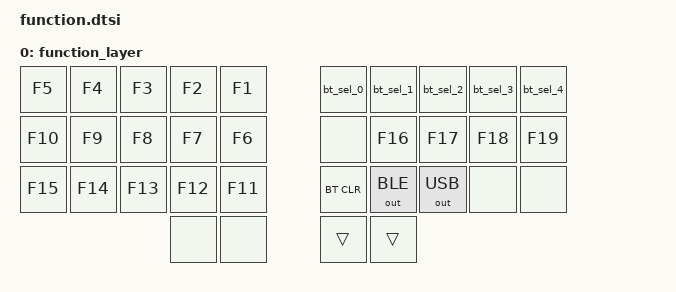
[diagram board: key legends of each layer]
#include <dt-bindings/zmk/bt.h>

/ {
    keymap {
        compatible = "zmk,keymap";
                function_layer {
// -----------------------------------------------------------------
// |     | F 4 | F 5 | F 6 | F10 | | <!> | <!> | <!> | <!> |     |
// |CAPSL| F 1 | F 2 | F 3 | F11 | | BT2 |VMUTE|VOLDN|VOLUP| <!> |
// |-!!!-| F 7 | F 8 | F 9 | F12 | | BT0 | BT1 |BRIDN|BRIUP|_FUN_|
//                   |     | SPC | | RET |     |
/*  
    ╭─────────────────────────╮ ╭─────────────────────────────────────╮
    │ F5   F4   F3   F2   F1  │ │ BT_1    BT_2    BT_3     BT_4  BT_5 │
    │ F10  F9   F8   F7   F6  │ │  _      F16     F17      F18   F19  │
    │ F15  F14  F13  F12  F11 │ │ BT_CLR  OUT_BT  OUT_USB   _TO DAN_  │
    ╰───────────╮trans  trans │ │ trans  trans╭───────────────────────╯
                ╰─────────────╯ ╰─────────────╯   */
                        bindings = <
//┌────────┬────────┬────────┬────────┬────────┐ ┌────────────┬─────────────┬─────────────┬─────────────┬─────────────┐
    &kp F5   &kp F4   &kp F3   &kp F2   &kp F1    &bt_sel_0  &bt_sel_1  &bt_sel_2  &bt_sel_3  &bt_sel_4
//├────────┼────────┼────────┼────────┼────────┤ ├────────────┼─────────────┼─────────────┼─────────────┼─────────────┤
    &kp F10  &kp F9   &kp F8   &kp F7   &kp F6    &none         &kp F16       &kp F17       &kp F18       &kp F19            
//├────────┼────────┼────────┼────────┼────────┤ ├────────────┼─────────────┼─────────────┼─────────────┼─────────────┤
    &kp F15  &kp F14  &kp F13  &kp F12  &kp F11   &bt BT_CLR    &out OUT_BLE  &out OUT_USB  &none         &none
//└────────┴────────┴────────┴────────┴────────┘ └────────────┴─────────────┴─────────────┴─────────────┴─────────────┘
                               &none    &none     &trans        &trans 
//                           └────────┴────────┘ └────────────┴─────────────┘                        
                        >;
                };
        };
};
COMBO_LAYER(to_DANGER, &mo DAN, RBR RBP, FUN)

#define BT_SEL_LED(BT_CHANNEL, COLOR) \
  / { \
    macros { \
      bt_sel_##BT_CHANNEL: bt_sel_##BT_CHANNEL { \
        compatible = "zmk,behavior-macro"; \
        label = str(bt_sel_##BT_CHANNEL); \
        #binding-cells = <0>; \
        wait-ms = <0>; \
        tap-ms = <10>; \
        bindings \
          = <&rgb_ug RGB_COLOR_HSB(COLOR,100,100)>\
          , <&bt BT_SEL BT_CHANNEL>;\
      };\
    };\
  };

BT_SEL_LED(0, 248)
BT_SEL_LED(1, 276)
BT_SEL_LED(2, 48)
BT_SEL_LED(3, 38)
BT_SEL_LED(4, 128)

/*
//// Layer Switching
// with changing underglow
#define MACRO_mo_LAYER_SWITCH_LED(LAYER, COLOR) \
  / { \
    macros { \
      ls_mo_##LAYER: macro_ls_mo_##LAYER { \
        compatible = "zmk,behavior-macro"; \
        label = str(macro_ls_mo_##LAYER); \
        #binding-cells = <0>; \
        wait-ms = <0>; \
        tap-ms = <10>; \
        bindings \
          = <&macro_press &mo LAYER>\
          , <&macro_tap &rgb_ug RGB_COLOR_HSB(COLOR,100,100)>\
          , <&macro_pause_for_release>\
          , <&macro_release &mo LAYER>\
          , <&macro_tap &rgb_ug RGB_COLOR_HSB(248,100,50)>;\
      };\
    };\
  };

// 
#define MACRO_LAYER_SWITCH_LED(LAYER, COLOR) \
    MACRO(ls_to_##LAYER, &to LAYER &rgb_ug RGB_COLOR_HSB(COLOR,100,100)) \
    MACRO_mo_LAYER_SWITCH_LED(LAYER, COLOR)
//    MACRO(ls_mo_##LAYER, &mo LAYER &rgb_ug RGB_COLOR_HSB(COLOR,100,100)) \
// toggle off would lead to wrong layer color
//   MACRO(ls_tog_##LAYER, &tog LAYER &rgb_ug RGB_COLOR_HSB(COLOR,100,100)) \

MACRO_LAYER_SWITCH_LED(ALP, 248)// Alphabeth characters
MACRO_LAYER_SWITCH_LED(CRD, 276) // Layer for Word Chords
MACRO_LAYER_SWITCH_LED(SYM, 48) // Symboles
MACRO_LAYER_SWITCH_LED(NUM, 38) // Numbers
MACRO_LAYER_SWITCH_LED(CMD, 128) // layer for chording
MACRO_LAYER_SWITCH_LED(FUN, 306) // Function Keys
MACRO_LAYER_SWITCH_LED(DAN, 8) // DANGER!
MACRO_LAYER_SWITCH_LED(LCK, 22) // Lock KB

*/
